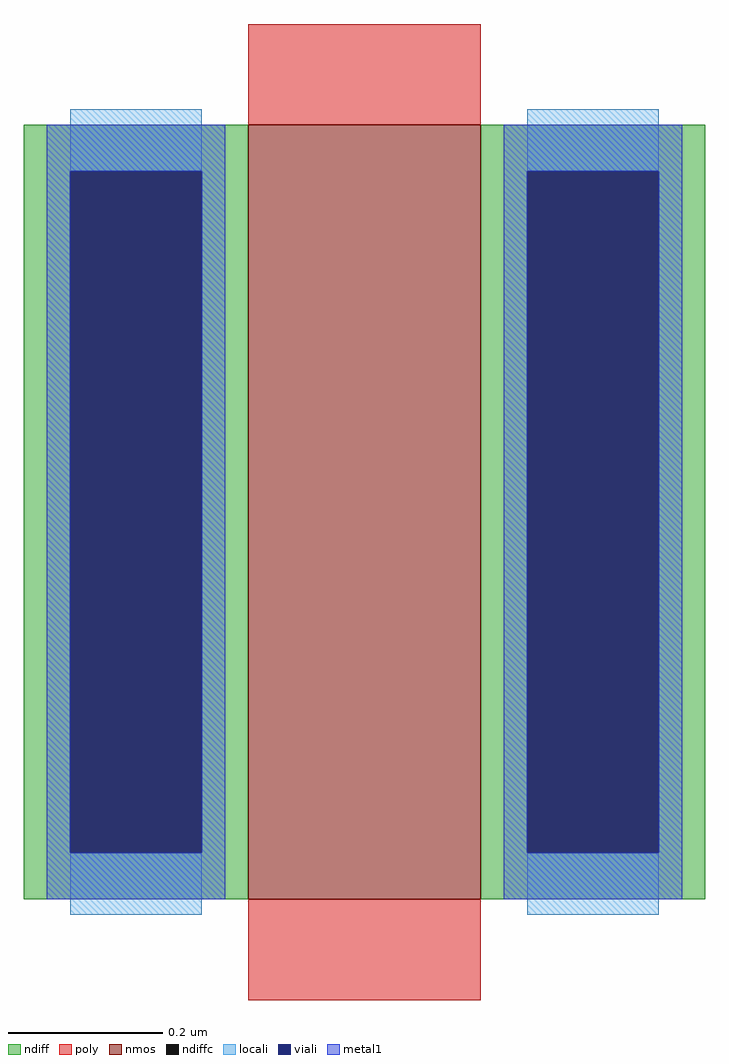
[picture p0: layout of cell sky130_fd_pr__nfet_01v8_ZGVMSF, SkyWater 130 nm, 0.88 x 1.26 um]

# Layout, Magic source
magic
tech sky130B
<< nmos >>
rect -15 -50 15 50
<< ndiff >>
rect -44 44 -15 50
rect -44 -44 -38 44
rect -21 -44 -15 44
rect -44 -50 -15 -44
rect 15 44 44 50
rect 15 -44 21 44
rect 38 -44 44 44
rect 15 -50 44 -44
<< ndiffc >>
rect -38 -44 -21 44
rect 21 -44 38 44
<< poly >>
rect -15 50 15 63
rect -15 -63 15 -50
<< locali >>
rect -38 44 -21 52
rect -38 -52 -21 -44
rect 21 44 38 52
rect 21 -52 38 -44
<< viali >>
rect -38 -44 -21 44
rect 21 -44 38 44
<< metal1 >>
rect -41 44 -18 50
rect -41 -44 -38 44
rect -21 -44 -18 44
rect -41 -50 -18 -44
rect 18 44 41 50
rect 18 -44 21 44
rect 38 -44 41 44
rect 18 -50 41 -44
<< properties >>
string gencell sky130_fd_pr__nfet_01v8
string library sky130
string parameters w 1 l 0.3 m 1 nf 1 diffcov 100 polycov 100 guard 0 glc 1 grc 1 gtc 1 gbc 1 tbcov 100 rlcov 100 topc 0 botc 0 poverlap 0 doverlap 1 lmin 0.15 wmin 0.42 compatible {sky130_fd_pr__nfet_01v8 sky130_fd_pr__nfet_01v8_lvt  sky130_fd_bs_flash__special_sonosfet_star  sky130_fd_pr__nfet_g5v0d10v5 sky130_fd_pr__nfet_05v0_nvt  sky130_fd_pr__nfet_03v3_nvt} full_metal 1 viasrc 100 viadrn 100 viagate 100 viagb 0 viagr 0 viagl 0 viagt 0
<< end >>
